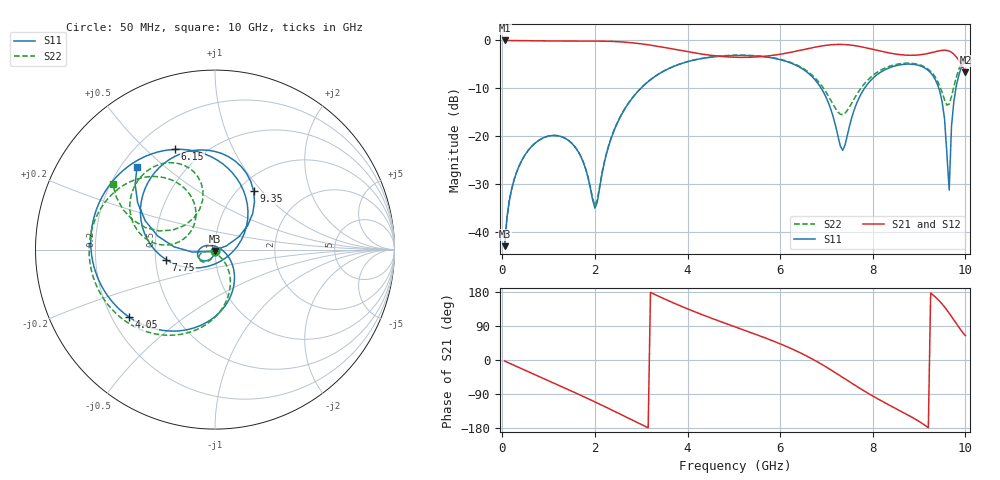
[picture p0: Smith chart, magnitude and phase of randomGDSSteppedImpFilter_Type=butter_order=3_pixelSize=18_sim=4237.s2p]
! freq	dB(S11)	phase(S11)	dB(S12)	phase(S12)
!  dB(S21)	phase(S21)	dB(S22)	phase(S22)
!S-par simulation data
#  GHz  S  DB  R 50
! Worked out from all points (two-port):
!   200 points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, 50 MHz to 10 GHz, reference 50 ohm
!   highest |S21| = -0.01 dB at 50 MHz (marker M1); lowest = -6.6 dB at 10 GHz (marker M2)
!   |S21| within 3 dB of the highest: start of sweep to 4.429 GHz; 5.914 GHz to 8.634 GHz (2.72 GHz wide, 37.4 % of centre) (the widest 2 of 3)
!   lowest |S11| = -42.9 dB at 50 MHz (marker M3), VSWR 1.01, Z = 50 - j0.719 ohm
!   |S11| at or under -10 dB: start of sweep to 2.99 GHz; 6.888 GHz to 7.82 GHz (932.5 MHz wide, 12.7 % of centre); 9.426 GHz to 9.795 GHz (369.2 MHz wide, 3.84 % of centre)
!   |S22| runs from -42.9 to -3.1 dB; largest |S21 - S12| = 0
!   S11 on the Smith chart (normalised r, x): 50 MHz: 1.00, -0.01; 4.05 GHz: 0.27, -0.32; 6.15 GHz: 0.35, +0.62; 7.75 GHz: 0.57, -0.07; 9.35 GHz: 1.17, +0.90; 10 GHz: 0.26, +0.41
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0.05  -42.86 -90.8  -0.01 -2.8  -0.01 -2.8  -42.86 -90.4
0.25  -29.20 -104.6  -0.03 -13.8  -0.03 -13.8  -29.19 -102.8
0.65  -21.92 -128.8  -0.07 -35.7  -0.07 -35.7  -21.91 -123.7
1.25  -19.97 -165.5  -0.12 -68.5  -0.12 -68.5  -19.97 -152.9
1.75  -25.39 155.1  -0.12 -96.3  -0.12 -96.3  -25.36 -168.4
2  -34.93 74.3  -0.13 -110.6  -0.13 -110.6  -34.38 -115.8
2.5  -16.87 -44.8  -0.27 -140.0  -0.27 -140.0  -16.81 -57.6
3.4  -6.87 -105.3  -1.30 166.8  -1.30 166.8  -6.84 -102.5
4.05  -4.31 -142.0  -2.44 132.4  -2.44 132.4  -4.27 -133.8
5.05  -3.13 168.8  -3.51 86.5  -3.51 86.5  -3.09 -175.0
6.15  -4.43 111.7  -2.62 34.9  -2.62 34.9  -4.32 141.8
6.7  -7.65 72.9  -1.51 2.2  -1.51 2.2  -7.31 119.7
7.35  -22.89 -61.2  -0.84 -45.9  -0.84 -45.9  -15.45 147.2
7.75  -11.11 -168.4  -1.32 -77.0  -1.32 -77.0  -9.89 174.6
8.35  -5.73 139.0  -2.61 -118.6  -2.61 -118.6  -5.42 152.3
8.9  -5.02 98.3  -3.08 -154.8  -3.08 -154.8  -4.84 125.8
9.35  -8.16 56.6  -2.36 166.3  -2.36 166.3  -7.66 103.1
9.55  -16.38 28.2  -2.04 140.0  -2.04 140.0  -12.38 110.7
9.65  -31.17 -156.7  -2.22 123.6  -2.22 123.6  -13.29 141.6
9.7  -17.91 -173.8  -2.48 114.8  -2.48 114.8  -11.70 155.3
9.75  -12.80 176.1  -2.86 105.8  -2.86 105.8  -9.66 161.5
10  -3.96 133.3  -6.62 64.3  -6.62 64.3  -3.42 147.5
